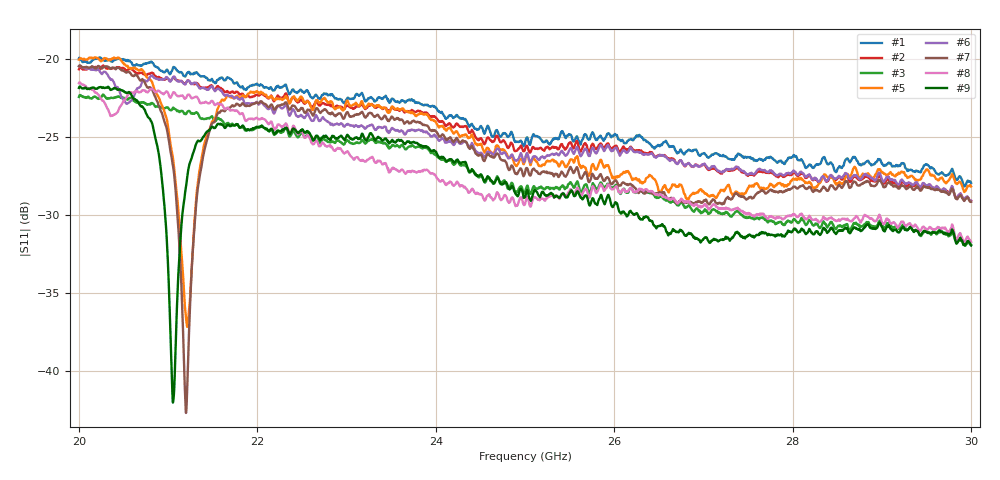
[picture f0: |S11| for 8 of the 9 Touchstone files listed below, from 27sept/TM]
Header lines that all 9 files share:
#  HZ  S  RI  R  50.00
! Rohde & Schwarz ZVA40 4Ports - Version 3.90 - 1145.1110k42 SN: 100403
! Measurement: S12
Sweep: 20 GHz to 30 GHz
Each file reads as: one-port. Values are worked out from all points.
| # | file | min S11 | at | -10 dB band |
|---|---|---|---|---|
| 1 | screen_15deg.s1p | -28.2 dB | 29.92 GHz | over 10 GHz wide |
| 2 | screen_30deg.s1p | -29.1 dB | 30 GHz | over 10 GHz wide |
| 3 | screen_45deg.s1p | -32.0 dB | 29.94 GHz | over 10 GHz wide |
| 4 | struct_15deg_9A.s1p | -28.2 dB | 29.92 GHz | over 10 GHz wide |
| 5 | struct_15deg_inverse5V.s1p | -37.2 dB | 21.21 GHz | over 10 GHz wide |
| 6 | struct_30deg_9A.s1p | -29.1 dB | 29.99 GHz | over 10 GHz wide |
| 7 | struct_30deg_inverse5V.s1p | -42.7 dB | 21.2 GHz | over 10 GHz wide |
| 8 | struct_45deg_9A.s1p | -31.7 dB | 30 GHz | over 10 GHz wide |
| 9 | struct_45deg_inverse5V.s1p | -42.0 dB | 21.05 GHz | over 10 GHz wide |
